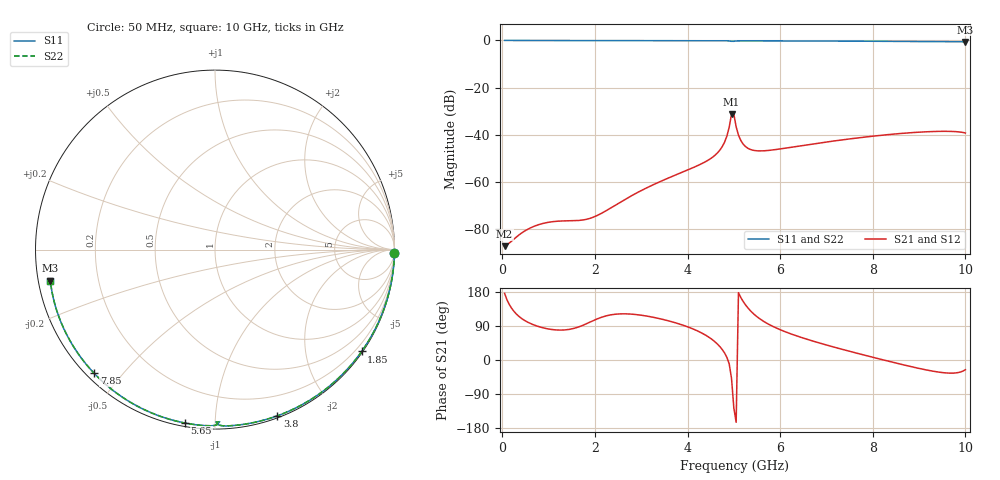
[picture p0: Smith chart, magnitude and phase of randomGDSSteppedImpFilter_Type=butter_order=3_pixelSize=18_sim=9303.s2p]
! freq	dB(S11)	phase(S11)	dB(S12)	phase(S12)
!  dB(S21)	phase(S21)	dB(S22)	phase(S22)
!S-par simulation data
#  GHz  S  DB  R 50
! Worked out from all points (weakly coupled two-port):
!   200 points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, 50 MHz to 10 GHz, reference 50 ohm
!   highest |S21| = -31.19 dB at 4.95 GHz (marker M1); lowest = -87.2 dB at 50 MHz (marker M2)
!   lowest |S11| = -0.6 dB at 10 GHz (marker M3), VSWR 29.15, Z = 1.73 - j4.66 ohm
!   |S11| at or under -10 dB: nowhere
!   |S22| runs from -0.6 to 0.0 dB; largest |S21 - S12| = 0
!   S11 on the Smith chart (normalised r, x): 50 MHz: open; 1.85 GHz: 0.03, -3.19; 3.8 GHz: 0.02, -1.44; 5.65 GHz: 0.02, -0.84; 7.85 GHz: 0.02, -0.42; 10 GHz: 0.03, -0.09
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0.05  -0.00 -1.0  -87.19 175.8  -87.19 175.8  -0.00 -1.0
0.55  -0.01 -10.5  -80.02 99.7  -80.02 99.7  -0.01 -10.5
1  -0.02 -19.0  -77.06 81.8  -77.06 81.8  -0.02 -19.0
1.75  -0.04 -32.9  -76.07 92.0  -76.07 92.0  -0.04 -32.9
1.85  -0.04 -34.8  -75.65 97.5  -75.65 97.5  -0.04 -34.8
3.4  -0.08 -62.5  -59.90 109.1  -59.90 109.1  -0.08 -62.5
3.8  -0.09 -69.4  -56.54 95.9  -56.54 95.9  -0.09 -69.4
4.4  -0.12 -79.6  -51.26 64.9  -51.26 64.9  -0.12 -79.6
4.65  -0.13 -83.9  -47.57 41.5  -47.57 41.5  -0.13 -83.9
4.75  -0.13 -85.6  -44.98 27.5  -44.98 27.5  -0.13 -85.6
4.85  -0.15 -87.5  -40.52 6.9  -40.52 6.9  -0.15 -87.5
4.95  -0.35 -89.7  -31.19 -48.7  -31.19 -48.7  -0.35 -89.7
5  -0.36 -88.4  -31.27 -126.7  -31.27 -126.7  -0.36 -88.4
5.05  -0.20 -89.4  -36.61 -164.3  -36.61 -164.3  -0.20 -89.4
5.15  -0.16 -91.4  -42.38 165.0  -42.38 165.0  -0.16 -91.4
5.25  -0.16 -93.2  -44.94 145.8  -44.94 145.8  -0.16 -93.2
5.65  -0.17 -99.8  -46.77 101.4  -46.77 101.4  -0.17 -99.8
6.7  -0.23 -116.4  -43.89 50.2  -43.89 50.2  -0.23 -116.4
7.85  -0.32 -134.3  -40.91 11.9  -40.91 11.9  -0.32 -134.3
8.35  -0.37 -142.2  -39.87 -3.5  -39.87 -3.5  -0.37 -142.1
9.4  -0.49 -159.0  -38.54 -31.5  -38.54 -31.5  -0.49 -159.0
10  -0.60 -169.3  -39.23 -25.6  -39.23 -25.6  -0.60 -169.3
